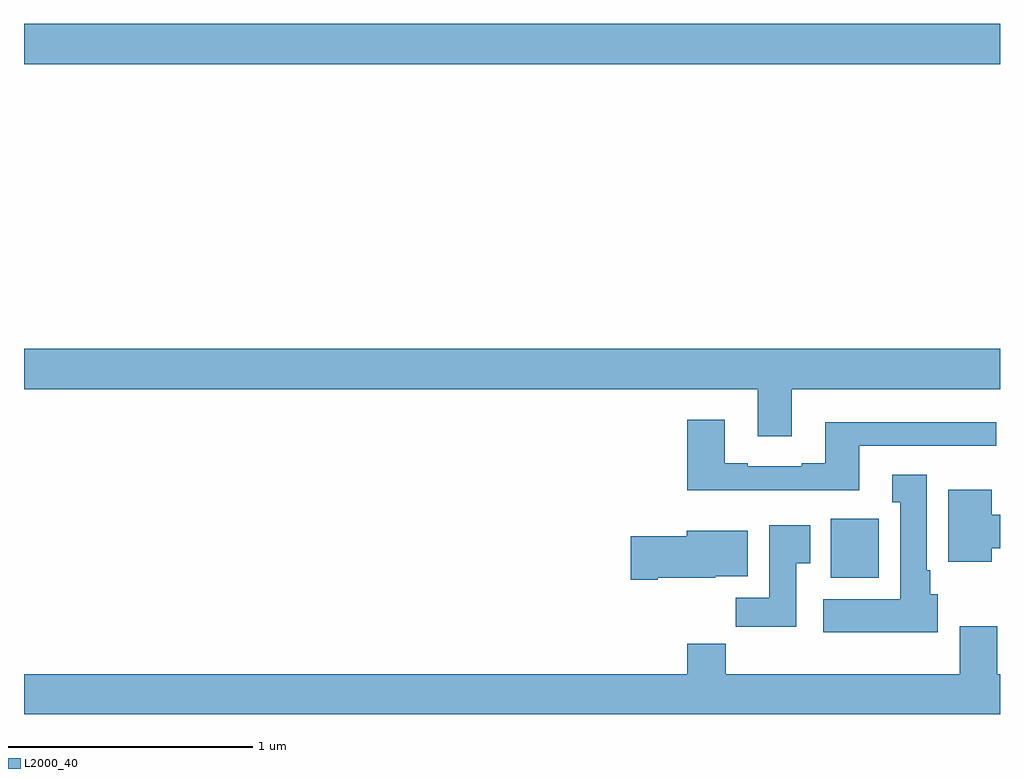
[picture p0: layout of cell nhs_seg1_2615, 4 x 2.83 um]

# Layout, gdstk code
import gdstk
lib = gdstk.Library(unit=1e-6, precision=1e-09)
def R(c, l, rs):  # rectangles x0, y0, x1, y1
    for r in rs: c.add(gdstk.rectangle(r[:2], r[2:], *l))
def P(c, l, *ps):  # polygons
    for p in ps: c.add(gdstk.Polygon(p, *l))
L2000_40 = (2000, 40)

nhs_seg1_2615 = lib.new_cell('nhs_seg1_2615')
R(nhs_seg1_2615, L2000_40, [(256.307,534.974,256.504,535.216), (253,537.08,257,537.244)])
P(nhs_seg1_2615, L2000_40, [(256.147,535.748),(257,535.748),(257,535.912),(253,535.912),(253,535.748),(256.007,535.748),(256.007,535.554),(256.147,535.554)],
  [(256.423,535.515),(256.984,535.515),(256.984,535.612),(256.283,535.612),(256.283,535.444),(256.187,535.444),(256.187,535.431),(255.967,535.431),(255.967,535.444),(255.871,535.444),(255.871,535.621),(255.719,535.621),(255.719,535.334),(256.423,535.334)],
  [(256.744,534.906),(256.714,534.906),(256.714,535.006),(256.699,535.006),(256.699,535.396),(256.559,535.396),(256.559,535.283),(256.592,535.283),(256.592,534.886),(256.275,534.886),(256.275,534.752),(256.744,534.752)],
  [(256.966,535.096),(257,535.096),(257,535.232),(256.966,535.232),(256.966,535.336),(256.787,535.336),(256.787,535.04),(256.966,535.04)],
  [(256.165,535.033),(256.222,535.033),(256.222,535.189),(256.055,535.189),(256.055,534.892),(255.916,534.892),(255.916,534.774),(256.165,534.774)],
  [(255.598,534.974),(255.834,534.974),(255.834,534.98),(255.967,534.98),(255.967,535.168),(255.716,535.168),(255.716,535.145),(255.486,535.145),(255.486,534.967),(255.598,534.967)],
  [(257,534.58),(256.988,534.58),(256.988,534.775),(256.835,534.775),(256.835,534.58),(255.875,534.58),(255.875,534.704),(255.719,534.704),(255.719,534.58),(253,534.58),(253,534.416),(257,534.416)])

lib.write_gds('nhs_seg1_2615.gds')
